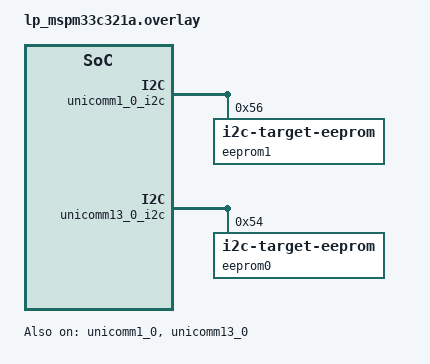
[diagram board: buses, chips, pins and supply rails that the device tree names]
/*
 * Copyright (c) 2026 Texas Instruments Incorporated
 *
 * SPDX-License-Identifier: Apache-2.0
 */

/*
 * I2C loopback wiring for LP-MSPM33C321A:
 *
 * Wire PB0 <-> PB12 (SDA) and PB1 <-> PB13 (SCL).
 * Internal pull-ups are enabled on all four pins.
 */

&pinctrl {
	uc1_0_sda_pb0_pu: uc1_0_sda_pb0_pu {
		pinmux = <MSP_PINMUX(12, MSPM0_PIN_FUNCTION_2)>;
		input-enable;
		drive-open-drain;
		bias-pull-up;
	};

	uc1_0_scl_pb1_pu: uc1_0_scl_pb1_pu {
		pinmux = <MSP_PINMUX(13, MSPM0_PIN_FUNCTION_2)>;
		input-enable;
		drive-open-drain;
		bias-pull-up;
	};

	uc13_0_sda_pb12_pu: uc13_0_sda_pb12_pu {
		pinmux = <MSP_PINMUX(29, MSPM0_PIN_FUNCTION_3)>;
		input-enable;
		drive-open-drain;
		bias-pull-up;
	};

	uc13_0_scl_pb13_pu: uc13_0_scl_pb13_pu {
		pinmux = <MSP_PINMUX(30, MSPM0_PIN_FUNCTION_4)>;
		input-enable;
		drive-open-drain;
		bias-pull-up;
	};
};

&unicomm1_0 {
	status = "okay";
};

&unicomm1_0_i2c {
	pinctrl-0 = <&uc1_0_sda_pb0_pu &uc1_0_scl_pb1_pu>;
	pinctrl-names = "default";
	unicomm-advanced-i2c;
	status = "okay";

	eeprom1: eeprom@56 {
		compatible = "zephyr,i2c-target-eeprom";
		reg = <0x56>;
		address-width = <8>;
		size = <256>;
	};
};

&unicomm13_0 {
	status = "okay";
};

&unicomm13_0_i2c {
	pinctrl-0 = <&uc13_0_sda_pb12_pu &uc13_0_scl_pb13_pu>;
	pinctrl-names = "default";
	status = "okay";

	eeprom0: eeprom@54 {
		compatible = "zephyr,i2c-target-eeprom";
		reg = <0x54>;
		address-width = <8>;
		size = <256>;
	};
};
